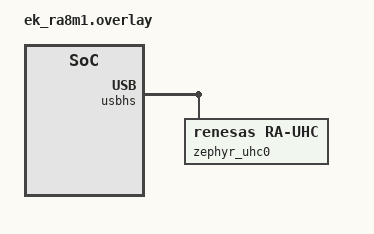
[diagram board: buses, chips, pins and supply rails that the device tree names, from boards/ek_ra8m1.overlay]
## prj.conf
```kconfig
CONFIG_SHELL=y
CONFIG_SERIAL=y
CONFIG_CONSOLE=y
CONFIG_UART_CONSOLE=y

CONFIG_USB_HOST_STACK=y
CONFIG_USBH_SHELL=y

CONFIG_LOG=y
CONFIG_USBH_LOG_LEVEL_WRN=y
CONFIG_USBH_HID_LOG_LEVEL_DBG=y
CONFIG_UHC_DRIVER_LOG_LEVEL_WRN=y

CONFIG_UHC_RENESAS_RA_OSC_WAIT_RETRIES=20

CONFIG_USBH_HID_CLASS=y
CONFIG_USBH_DFU_CLASS=n
CONFIG_USBH_HID_ROUTE_TO_INPUT=y
CONFIG_INPUT=y

CONFIG_DEBUG_OPTIMIZATIONS=y
```

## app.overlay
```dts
/*
 * Copyright (c) 2026 Renesas, Embedd
 * SPDX-License-Identifier: Apache-2.0
 */

/ {
    usbh_hid: usbh-hid {
        compatible = "zephyr,usbh-hid";

        #address-cells = <1>;
        #size-cells = <0>;

        any_hid_device: hid-device@ffffffff {
            compatible = "zephyr,usbh-hid-device";
            reg = <0xffffffff>;
            match-class;
            start-with-boot-protocol;
            in-idle-rate-ms = <0 0>;
            status="okay";
        };
    };
};

&usbhs {
	pinctrl-0 = <&usbhs_default>;
	pinctrl-names = "default";
	maximum-speed = "high-speed";
	status = "okay";

	zephyr_uhc0: uhc {
		status = "okay";
	};
};
```

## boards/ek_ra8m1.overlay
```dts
/*
 * Copyright (c) 2026 Renesas Electronics Corporation
 *
 * SPDX-License-Identifier: Apache-2.0
 */

/delete-node/ &zephyr_udc0;
/delete-node/ &zephyr_uhc0;

/ {
	usbh_hid: usbh-hid {
		compatible = "zephyr,usbh-hid";

		#address-cells = <1>;
		#size-cells = <0>;

		any_hid_device: hid-device@ffffffff {
			compatible = "zephyr,usbh-hid-device";
			reg = <0xffffffff>;
			match-class;
			start-with-boot-protocol;
			in-idle-rate-ms = <0 0>;
			status="okay";
		};
	};
};

&usbhs {
	pinctrl-0 = <&usbhs_default>;
	pinctrl-names = "default";
	maximum-speed = "high-speed";
	status = "okay";

	zephyr_uhc0: uhc {
		compatible = "renesas,ra-uhc";
		status = "okay";
	};
};
```

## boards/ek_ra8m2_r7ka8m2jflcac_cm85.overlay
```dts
/*
 * Copyright (c) 2026 Renesas Electronics Corporation
 *
 * SPDX-License-Identifier: Apache-2.0
 */

/ {
	usbh_hid: usbh-hid {
		compatible = "zephyr,usbh-hid";

		#address-cells = <1>;
		#size-cells = <0>;

		any_hid_device: hid-device@ffffffff {
			compatible = "zephyr,usbh-hid-device";
			reg = <0xffffffff>;
			match-class;
			start-with-boot-protocol;
			in-idle-rate-ms = <0 0>;
			status="okay";
		};
	};
};

&usbhs {
	pinctrl-0 = <&usbhs_default>;
	pinctrl-names = "default";
	maximum-speed = "high-speed";
	status = "okay";

	zephyr_uhc0: uhc {
		status = "okay";
	};
};
```

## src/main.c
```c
/*
 * Copyright (c) 2022 Nordic Semiconductor ASA
 *
 * SPDX-License-Identifier: Apache-2.0
 */

#include <stdlib.h>
#include <zephyr/kernel.h>
#include <zephyr/usb/usbh.h>
#include <zephyr/logging/log.h>
#include <zephyr/input/input.h>
#include <zephyr/sys/byteorder.h>
#include <zephyr/shell/shell.h>
#include <zephyr/usb/usbh.h>
#include <zephyr/drivers/usb/uhc.h>
#include <zephyr/usb/class/usbh_hid.h>
#include <zephyr/usb/class/hid.h>
#include <zephyr/dt-bindings/input/input-event-codes.h>

LOG_MODULE_REGISTER(main, LOG_LEVEL_INF);

#if CONFIG_USB_HOST_STACK
USBH_CONTROLLER_DEFINE(sample_uhs_ctx, DEVICE_DT_GET(DT_NODELABEL(zephyr_uhc0)));
#endif


struct device const* dev = DEVICE_DT_GET(DT_NODELABEL(any_hid_device));

static int cmd_set_report(const struct shell* sh, size_t argc, char** argv) {
    int                             result      = 0;
    uint8_t                         report_id   = 0;
    enum usbh_hid_report_field_type report_type = 0;
    uint8_t                         buffer[64]  = {0};

    if (argc < 3) {
        shell_error(sh, "Not enough arguments: set_report <report_id> <report_type> <data>");
        return -EINVAL;
    }

    report_id   = atoi(argv[1]);
    report_type = atoi(argv[2]);

    size_t data_length = argc - 3;

    if (data_length > sizeof(buffer)) {
        shell_error(sh, "Too much data");
        return -ENOMEM;
    }

    switch (report_type) {
        case USBH_HID_REPORT_FIELD_TYPE_INPUT:
        case USBH_HID_REPORT_FIELD_TYPE_OUTPUT:
        case USBH_HID_REPORT_FIELD_TYPE_FEATURE: {
            break;
        }

        default: {
            shell_error(sh, "Invalid report type");
            return -EINVAL;
        }
    }

    for (size_t i = 0; i < data_length; i++) {
        buffer[i] = strtol(argv[3 + i], NULL, 16);
    }

    LOG_HEXDUMP_DBG(buffer, data_length, "HEX");

    result = usbh_hid_set_report(dev, report_type, report_id, data_length, buffer);
    if (result != 0) {
        shell_error(sh, "Could not set report: %i", result);
        return result;
    }

    return 0;
}

static int cmd_get_report(const struct shell* sh, size_t argc, char** argv) {
    int                             result      = 0;
    uint8_t                         report_id   = 0;
    enum usbh_hid_report_field_type report_type = 0;
    uint8_t                         buffer[64]  = {0};
    uint8_t                         data_length = 0;

    if (argc < 4) {
        shell_error(sh, "Not enough arguments: get_report <report_id> <report_type> <length>");
        return -EINVAL;
    }

    report_id   = atoi(argv[1]);
    report_type = atoi(argv[2]);
    data_length = atoi(argv[3]);

    if (data_length > sizeof(buffer)) {
        shell_error(sh, "Too much data");
        return -ENOMEM;
    }

    switch (report_type) {
        case USBH_HID_REPORT_FIELD_TYPE_INPUT:
        case USBH_HID_REPORT_FIELD_TYPE_OUTPUT:
        case USBH_HID_REPORT_FIELD_TYPE_FEATURE: {
            break;
        }

        default: {
            shell_error(sh, "Invalid report type");
            return -EINVAL;
        }
    }

    result = usbh_hid_get_report(dev, report_type, report_id, data_length, buffer);
    if (result != 0) {
        shell_error(sh, "Could not get report: %i", result);
        return result;
    }

    shell_hexdump_line(sh, 0, buffer, data_length);

    return 0;
}

static int cmd_set_idle_rate(const struct shell* sh, size_t argc, char** argv) {
    int      result         = 0;
    uint8_t  report_id      = 0;
    uint16_t idle_period_ms = 0;

    if (argc < 3) {
        shell_error(sh, "Not enough arguments: set_idle <report_id> <idle_period>");
        return -EINVAL;
    }

    report_id      = atoi(argv[1]);
    idle_period_ms = atoi(argv[2]);

    result = usbh_hid_set_idle_rate(dev, report_id, idle_period_ms);
    if (result != 0) {
        shell_error(sh, "Could not set idle rate: %i", result);
        return result;
    }

    return 0;
}

static int cmd_get_idle_rate(const struct shell* sh, size_t argc, char** argv) {
    int      result         = 0;
    uint8_t  report_id      = 0;
    uint16_t idle_period_ms = 0;

    if (argc < 2) {
        shell_error(sh, "Not enough arguments: get_idle <report_id>");
        return -EINVAL;
    }

    report_id = atoi(argv[1]);

    result = usbh_hid_get_idle_rate(dev, report_id, &idle_period_ms);
    if (result == 0) {
        shell_print(sh, "Idle rate for report 0x%02X: %i", report_id, idle_period_ms);
    } else {
        shell_error(sh, "Could not get idle rate: %i", result);
        return result;
    }

    return 0;
}

static int cmd_set_protocol(const struct shell* sh, size_t argc, char** argv) {
    int     result        = 0;
    uint8_t protocol_code = 0;

    if (argc < 2) {
        shell_error(sh, "Not enough arguments: set_protocol <protocol_code>");
        return -EINVAL;
    }

    protocol_code = atoi(argv[1]);

    result = usbh_hid_set_protocol(dev, protocol_code);
    if (result != 0) {
        shell_error(sh, "Could not set protocol: %i", result);
        return result;
    }

    return 0;
}

static int cmd_get_protocol(const struct shell* sh, size_t argc, char** argv) {
    int     result        = 0;
    uint8_t protocol_code = 0;

    if (argc < 1) {
        shell_error(sh, "Not enough arguments: get_protocol");
        return -EINVAL;
    }

    result = usbh_hid_get_protocol(dev, &protocol_code);
    if (result == 0) {
        shell_print(sh, "Protocol code for device: %i", protocol_code);
    } else {
        shell_error(sh, "Could not get protocol code: %i", result);
        return result;
    }

    return 0;
}

static int cmd_input(const struct shell* sh, size_t argc, char** argv) {
    int result = 0;

    if (strcmp(argv[1], "start") == 0) {
        result = usbh_hid_start_input_reports(dev);
        if (result == 0) {
            shell_print(sh, "Started input reports");
        } else {
            shell_error(sh, "Could not start input reports: %i", result);
            return result;
        }
    } else if (strcmp(argv[1], "stop") == 0) {
        result = usbh_hid_stop_input_reports(dev);
        if (result == 0) {
            shell_print(sh, "Stopped input reports");
        } else {
            shell_error(sh, "Could not stop input reports: %i", result);
            return result;
        }
    } else {
        shell_error(sh, "Invalid argument, expected \"start\" or \"stop\"");
        return -EINVAL;
    }

    return 0;
}

/* Map from INPUT_KEY_* value to string name */
struct input_key_name {
    uint16_t    key;
    const char* name;
};

static const struct input_key_name input_key_names[] = {
    {INPUT_KEY_0, "0"},
    {INPUT_KEY_1, "1"},
    {INPUT_KEY_2, "2"},
    {INPUT_KEY_3, "3"},
    {INPUT_KEY_4, "4"},
    {INPUT_KEY_5, "5"},
    {INPUT_KEY_6, "6"},
    {INPUT_KEY_7, "7"},
    {INPUT_KEY_8, "8"},
    {INPUT_KEY_9, "9"},
    {INPUT_KEY_A, "A"},
    {INPUT_KEY_APOSTROPHE, "Apostrophe"},
    {INPUT_KEY_B, "B"},
    {INPUT_KEY_BACK, "Back"},
    {INPUT_KEY_BACKSLASH, "Backslash"},
    {INPUT_KEY_BACKSPACE, "Backspace"},
    {INPUT_KEY_BLUETOOTH, "Bluetooth"},
    {INPUT_KEY_BRIGHTNESSDOWN, "Brightness Down"},
    {INPUT_KEY_BRIGHTNESSUP, "Brightness Up"},
    {INPUT_KEY_C, "C"},
    {INPUT_KEY_CAPSLOCK, "Caps Lock"},
    {INPUT_KEY_CLOSECD, "Close CD"},
    {INPUT_KEY_COFFEE, "Screen Saver"},
    {INPUT_KEY_COMMA, "Comma"},
    {INPUT_KEY_COMPOSE, "Compose"},
    {INPUT_KEY_CONNECT, "Connect"},
    {INPUT_KEY_D, "D"},
    {INPUT_KEY_DELETE, "Delete"},
    {INPUT_KEY_DOLLAR, "Dollar"},
    {INPUT_KEY_DOT, "Dot"},
    {INPUT_KEY_DOWN, "Down"},
    {INPUT_KEY_E, "E"},
    {INPUT_KEY_EJECTCD, "Eject CD"},
    {INPUT_KEY_EJECTCLOSECD, "Eject/Close CD"},
    {INPUT_KEY_END, "End"},
    {INPUT_KEY_ENTER, "Enter"},
    {INPUT_KEY_EQUAL, "Equal"},
    {INPUT_KEY_ESC, "Escape"},
    {INPUT_KEY_EURO, "Euro"},
    {INPUT_KEY_F, "F"},
    {INPUT_KEY_F1, "F1"},
    {INPUT_KEY_F2, "F2"},
    {INPUT_KEY_F3, "F3"},
    {INPUT_KEY_F4, "F4"},
    {INPUT_KEY_F5, "F5"},
    {INPUT_KEY_F6, "F6"},
    {INPUT_KEY_F7, "F7"},
    {INPUT_KEY_F8, "F8"},
    {INPUT_KEY_F9, "F9"},
    {INPUT_KEY_F10, "F10"},
    {INPUT_KEY_F11, "F11"},
    {INPUT_KEY_F12, "F12"},
    {INPUT_KEY_F13, "F13"},
    {INPUT_KEY_F14, "F14"},
    {INPUT_KEY_F15, "F15"},
    {INPUT_KEY_F16, "F16"},
    {INPUT_KEY_F17, "F17"},
    {INPUT_KEY_F18, "F18"},
    {INPUT_KEY_F19, "F19"},
    {INPUT_KEY_F20, "F20"},
    {INPUT_KEY_F21, "F21"},
    {INPUT_KEY_F22, "F22"},
    {INPUT_KEY_F23, "F23"},
    {INPUT_KEY_F24, "F24"},
    {INPUT_KEY_FASTFORWARD, "Fast Forward"},
    {INPUT_KEY_FAVORITES, "Favorites"},
    {INPUT_KEY_FORWARD, "Forward"},
    {INPUT_KEY_G, "G"},
    {INPUT_KEY_GRAVE, "Grave"},
    {INPUT_KEY_H, "H"},
    {INPUT_KEY_HOME, "Home"},
    {INPUT_KEY_I, "I"},
    {INPUT_KEY_INSERT, "Insert"},
    {INPUT_KEY_J, "J"},
    {INPUT_KEY_K, "K"},
    {INPUT_KEY_KP0, "Keypad 0"},
    {INPUT_KEY_KP1, "Keypad 1"},
    {INPUT_KEY_KP2, "Keypad 2"},
    {INPUT_KEY_KP3, "Keypad 3"},
    {INPUT_KEY_KP4, "Keypad 4"},
    {INPUT_KEY_KP5, "Keypad 5"},
    {INPUT_KEY_KP6, "Keypad 6"},
    {INPUT_KEY_KP7, "Keypad 7"},
    {INPUT_KEY_KP8, "Keypad 8"},
    {INPUT_KEY_KP9, "Keypad 9"},
    {INPUT_KEY_KPASTERISK, "Keypad Asterisk"},
    {INPUT_KEY_KPCOMMA, "Keypad Comma"},
    {INPUT_KEY_KPDOT, "Keypad Dot"},
    {INPUT_KEY_KPENTER, "Keypad Enter"},
    {INPUT_KEY_KPEQUAL, "Keypad Equal"},
    {INPUT_KEY_KPMINUS, "Keypad Minus"},
    {INPUT_KEY_KPPLUS, "Keypad Plus"},
    {INPUT_KEY_KPPLUSMINUS, "Keypad Plus/Minus"},
    {INPUT_KEY_KPSLASH, "Keypad Slash"},
    {INPUT_KEY_L, "L"},
    {INPUT_KEY_LEFT, "Left"},
    {INPUT_KEY_LEFTALT, "Left Alt"},
    {INPUT_KEY_LEFTBRACE, "Left Brace"},
    {INPUT_KEY_LEFTCTRL, "Left Ctrl"},
    {INPUT_KEY_LEFTMETA, "Left Meta"},
    {INPUT_KEY_LEFTSHIFT, "Left Shift"},
    {INPUT_KEY_M, "M"},
    {INPUT_KEY_MENU, "Menu"},
    {INPUT_KEY_MINUS, "Minus"},
    {INPUT_KEY_MUTE, "Mute"},
    {INPUT_KEY_N, "N"},
    {INPUT_KEY_NEXTSONG, "Next Song"},
    {INPUT_KEY_NUMLOCK, "Num Lock"},
    {INPUT_KEY_O, "O"},
    {INPUT_KEY_P, "P"},
    {INPUT_KEY_PAGEDOWN, "Page Down"},
    {INPUT_KEY_PAGEUP, "Page Up"},
    {INPUT_KEY_PAUSE, "Pause"},
    {INPUT_KEY_PLAY, "Play"},
    {INPUT_KEY_PLAYPAUSE, "Play/Pause"},
    {INPUT_KEY_POWER, "Power"},
    {INPUT_KEY_PREVIOUSSONG, "Previous Song"},
    {INPUT_KEY_PRINT, "Print"},
    {INPUT_KEY_Q, "Q"},
    {INPUT_KEY_R, "R"},
    {INPUT_KEY_RECORD, "Record"},
    {INPUT_KEY_REWIND, "Rewind"},
    {INPUT_KEY_RIGHT, "Right"},
    {INPUT_KEY_RIGHTALT, "Right Alt"},
    {INPUT_KEY_RIGHTBRACE, "Right Brace"},
    {INPUT_KEY_RIGHTCTRL, "Right Ctrl"},
    {INPUT_KEY_RIGHTMETA, "Right Meta"},
    {INPUT_KEY_RIGHTSHIFT, "Right Shift"},
    {INPUT_KEY_S, "S"},
    {INPUT_KEY_SCALE, "Scale"},
    {INPUT_KEY_SCROLLLOCK, "Scroll Lock"},
    {INPUT_KEY_SEMICOLON, "Semicolon"},
    {INPUT_KEY_SLASH, "Slash"},
    {INPUT_KEY_SLEEP, "Sleep"},
    {INPUT_KEY_SPACE, "Space"},
    {INPUT_KEY_STOPCD, "Stop CD"},
    {INPUT_KEY_SYSRQ, "SysRq"},
    {INPUT_KEY_T, "T"},
    {INPUT_KEY_TAB, "Tab"},
    {INPUT_KEY_U, "U"},
    {INPUT_KEY_UP, "Up"},
    {INPUT_KEY_UWB, "Ultra-Wideband"},
    {INPUT_KEY_V, "V"},
    {INPUT_KEY_VOLUMEDOWN, "Volume Down"},
    {INPUT_KEY_VOLUMEUP, "Volume Up"},
    {INPUT_KEY_W, "W"},
    {INPUT_KEY_WAKEUP, "Wake Up"},
    {INPUT_KEY_WLAN, "Wireless LAN"},
    {INPUT_KEY_X, "X"},
    {INPUT_KEY_Y, "Y"},
    {INPUT_KEY_Z, "Z"},
};

static const char* input_key_to_str(uint16_t key) {
    for (size_t i = 0; i < ARRAY_SIZE(input_key_names); i++) {
        if (input_key_names[i].key == key) {
            return input_key_names[i].name;
        }
    }
    return "Unknown";
}


static void my_input_cb(struct input_event* evt, void* user_data) {
    switch (evt->type) {
        case INPUT_EV_REL:
            if (evt->code == INPUT_REL_X) {
                LOG_INF("X: %d", evt->value);
            }
            if (evt->code == INPUT_REL_Y) {
                LOG_INF("Y: %d", evt->value);
            }
            if (evt->code == INPUT_REL_WHEEL) {
                LOG_INF("Wheel: %d", evt->value);
            }
            break;
        case INPUT_EV_KEY: {
            if ((evt->code & 0x100) > 0) {
                LOG_INF("Mouse button 0x%03X: %s", evt->code, evt->value ? "pressed" : "released");
            } else {
                LOG_INF("button %s: %s", input_key_to_str(evt->code), evt->value ? "pressed" : "released");
            }
            break;
        }
    }
}

INPUT_CALLBACK_DEFINE(NULL, my_input_cb, NULL);
SHELL_STATIC_SUBCMD_SET_CREATE(hid_cmds, SHELL_CMD(input, NULL, "Control input reports", cmd_input),
                               SHELL_CMD(set_idle, NULL, "Set idle rate", cmd_set_idle_rate), SHELL_CMD(get_idle, NULL, "Get idle rate", cmd_get_idle_rate),
                               SHELL_CMD(set_protocol, NULL, "Set protocol", cmd_set_protocol), SHELL_CMD(get_protocol, NULL, "Get protocol", cmd_get_protocol),
                               SHELL_CMD(set_report, NULL, "Set report", cmd_set_report), SHELL_CMD(get_report, NULL, "Get report", cmd_get_report),
                               SHELL_SUBCMD_SET_END);
SHELL_CMD_REGISTER(hid, &hid_cmds, "HID output control commands", NULL);

int main(void) {
    return 0;
}
```
